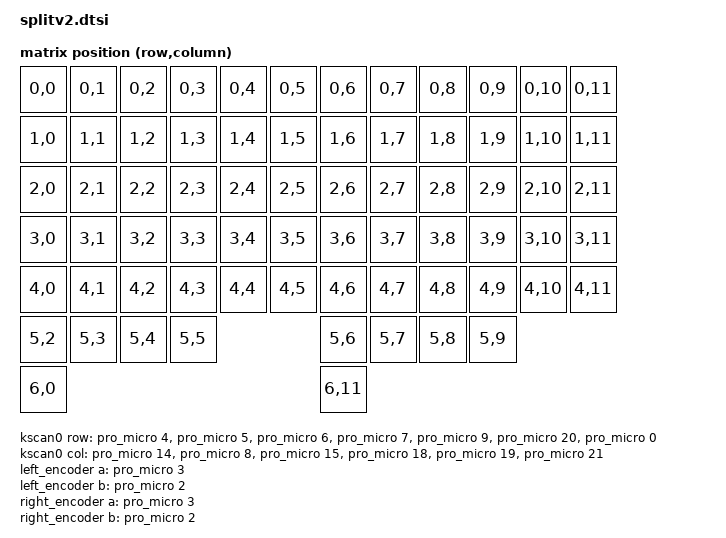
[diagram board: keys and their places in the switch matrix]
/*
 * Copyright (c) 2026 The ZMK Contributors
 * SPDX-License-Identifier: MIT
 *
 * Split v2, from keyboard.kicad_pcb.
 * Diodes point from the column, through the switch, to the row (col2row).
 *
 * nice!nano v2 Pro Micro pads, USB at the top.
 * Left row, top to bottom, is pads 1-12. Right row is pads 13-24.
 *   pad 2   D0   ENC_BTN   encoder push, extra matrix row on COL_MACRO
 *   pad 5   D2   ENC_B
 *   pad 6   D3   ENC_A
 *   pad 7   D4   ROW_FN
 *   pad 8   D5   ROW_NUMS
 *   pad 9   D6   ROW_TOP
 *   pad 10  D7   ROW_HOME
 *   pad 11  D8   COL_PINKY
 *   pad 12  D9   ROW_BOT
 *   pad 17  A3   COL_INNER
 *   pad 18  A2   ROW_THUMB
 *   pad 19  A1   COL_INDEX
 *   pad 20  A0   COL_MIDDLE
 *   pad 21  D15  COL_RING
 *   pad 22  D14  COL_MACRO
 *
 * The encoder push is wired between COL_MACRO and D0, with no diode.
 * D0 is scanned as its own row, so only the macro column has that key.
 *
 * steps = 120 and 30 triggers match a 30-detent EC11 (4 counts per detent).
 * If a click does nothing or fires twice, try steps of 60 or 80.
 */

#include <dt-bindings/zmk/matrix_transform.h>
#include "splitv2-layouts.dtsi"

/ {
    chosen {
        zmk,kscan = &kscan0;
        zmk,physical-layout = &physical_layout0;
    };

    kscan0: kscan0 {
        compatible = "zmk,kscan-gpio-matrix";
        diode-direction = "col2row";
        wakeup-source;

        row-gpios
            = <&pro_micro 4 (GPIO_ACTIVE_HIGH | GPIO_PULL_DOWN)>  /* ROW_FN    */
            , <&pro_micro 5 (GPIO_ACTIVE_HIGH | GPIO_PULL_DOWN)>  /* ROW_NUMS  */
            , <&pro_micro 6 (GPIO_ACTIVE_HIGH | GPIO_PULL_DOWN)>  /* ROW_TOP   */
            , <&pro_micro 7 (GPIO_ACTIVE_HIGH | GPIO_PULL_DOWN)>  /* ROW_HOME  */
            , <&pro_micro 9 (GPIO_ACTIVE_HIGH | GPIO_PULL_DOWN)>  /* ROW_BOT   */
            , <&pro_micro 20 (GPIO_ACTIVE_HIGH | GPIO_PULL_DOWN)> /* ROW_THUMB */
            , <&pro_micro 0 (GPIO_ACTIVE_HIGH | GPIO_PULL_DOWN)>  /* ENC_BTN   */
            ;

        col-gpios
            = <&pro_micro 14 GPIO_ACTIVE_HIGH> /* COL_MACRO  */
            , <&pro_micro 8 GPIO_ACTIVE_HIGH>  /* COL_PINKY  */
            , <&pro_micro 15 GPIO_ACTIVE_HIGH> /* COL_RING   */
            , <&pro_micro 18 GPIO_ACTIVE_HIGH> /* COL_MIDDLE */
            , <&pro_micro 19 GPIO_ACTIVE_HIGH> /* COL_INDEX  */
            , <&pro_micro 21 GPIO_ACTIVE_HIGH> /* COL_INNER  */
            ;
    };

    default_transform: keymap_transform0 {
        compatible = "zmk,matrix-transform";
        columns = <12>;
        rows = <7>;
        map = <
            RC(0,0) RC(0,1) RC(0,2) RC(0,3) RC(0,4) RC(0,5)  RC(0,6) RC(0,7) RC(0,8) RC(0,9) RC(0,10) RC(0,11)
            RC(1,0) RC(1,1) RC(1,2) RC(1,3) RC(1,4) RC(1,5)  RC(1,6) RC(1,7) RC(1,8) RC(1,9) RC(1,10) RC(1,11)
            RC(2,0) RC(2,1) RC(2,2) RC(2,3) RC(2,4) RC(2,5)  RC(2,6) RC(2,7) RC(2,8) RC(2,9) RC(2,10) RC(2,11)
            RC(3,0) RC(3,1) RC(3,2) RC(3,3) RC(3,4) RC(3,5)  RC(3,6) RC(3,7) RC(3,8) RC(3,9) RC(3,10) RC(3,11)
            RC(4,0) RC(4,1) RC(4,2) RC(4,3) RC(4,4) RC(4,5)  RC(4,6) RC(4,7) RC(4,8) RC(4,9) RC(4,10) RC(4,11)
            RC(5,2) RC(5,3) RC(5,4) RC(5,5)                  RC(5,6) RC(5,7) RC(5,8) RC(5,9)
            RC(6,0)                                          RC(6,11)
        >;
    };

    left_encoder: encoder_left {
        compatible = "alps,ec11";
        a-gpios = <&pro_micro 3 (GPIO_ACTIVE_HIGH | GPIO_PULL_UP)>;
        b-gpios = <&pro_micro 2 (GPIO_ACTIVE_HIGH | GPIO_PULL_UP)>;
        steps = <120>;
        status = "disabled";
    };

    right_encoder: encoder_right {
        compatible = "alps,ec11";
        a-gpios = <&pro_micro 3 (GPIO_ACTIVE_HIGH | GPIO_PULL_UP)>;
        b-gpios = <&pro_micro 2 (GPIO_ACTIVE_HIGH | GPIO_PULL_UP)>;
        steps = <120>;
        status = "disabled";
    };

    sensors: sensors {
        compatible = "zmk,keymap-sensors";
        sensors = <&left_encoder &right_encoder>;
        triggers-per-rotation = <30>;
    };
};

&physical_layout0 {
    transform = <&default_transform>;
};
